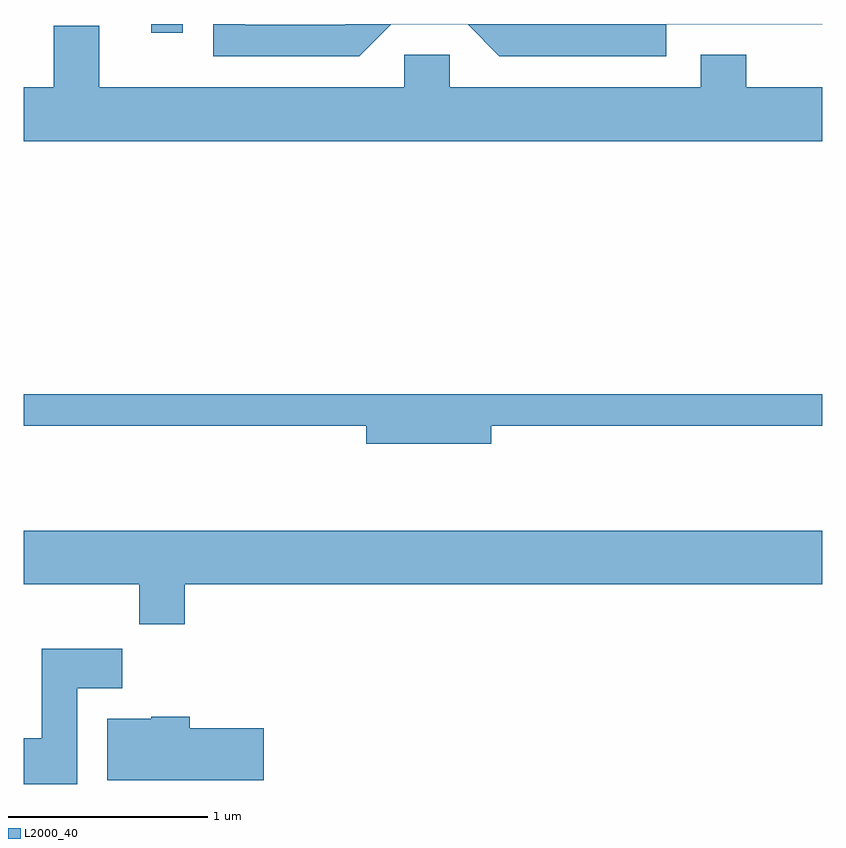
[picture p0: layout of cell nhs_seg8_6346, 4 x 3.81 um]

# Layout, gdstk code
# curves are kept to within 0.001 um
import gdstk
lib = gdstk.Library(unit=1e-6, precision=1e-09)
def R(c, l, rs):  # rectangles x0, y0, x1, y1
    for r in rs: c.add(gdstk.rectangle(r[:2], r[2:], *l))
def P(c, l, *ps):  # polygons
    for p in ps: c.add(gdstk.Polygon(p, *l))
L2000_40 = (2000, 40)

nhs_seg8_6346 = lib.new_cell('nhs_seg8_6346')
R(nhs_seg8_6346, L2000_40, [(376.251,1830.298,376.409,1830.342)])
P(nhs_seg8_6346, L2000_40, [(377.452,1830.341),(377.834,1830.341),(377.994,1830.181),(378.829,1830.181),(378.829,1830.341),(379.611,1830.342),(377.222,1830.342),(377.219,1830.339),(376.719,1830.339),(376.719,1830.342),(376.561,1830.342),(376.561,1830.181),(377.292,1830.181)],
  [(379.611,1830.024),(379.229,1830.024),(379.229,1830.189),(379.001,1830.189),(379.001,1830.024),(377.744,1830.024),(377.744,1830.189),(377.516,1830.189),(377.516,1830.024),(375.989,1830.024),(375.989,1830.334),(375.761,1830.334),(375.761,1830.024),(375.611,1830.024),(375.611,1829.756),(379.611,1829.756)],
  [(377.954,1828.331),(379.611,1828.331),(379.611,1828.489),(375.611,1828.489),(375.611,1828.331),(377.326,1828.331),(377.326,1828.241),(377.954,1828.241)],
  [(376.419,1827.536),(379.611,1827.536),(379.611,1827.804),(375.611,1827.804),(375.611,1827.536),(376.191,1827.536),(376.191,1827.336),(376.419,1827.336)],
  [(375.879,1827.016),(376.104,1827.016),(376.104,1827.214),(375.701,1827.214),(375.701,1826.764),(375.611,1826.764),(375.611,1826.536),(375.879,1826.536)],
  [(376.814,1826.814),(376.444,1826.814),(376.444,1826.874),(376.25,1826.874),(376.25,1826.864),(376.031,1826.864),(376.031,1826.556),(376.814,1826.556)])

lib.write_gds('nhs_seg8_6346.gds')
